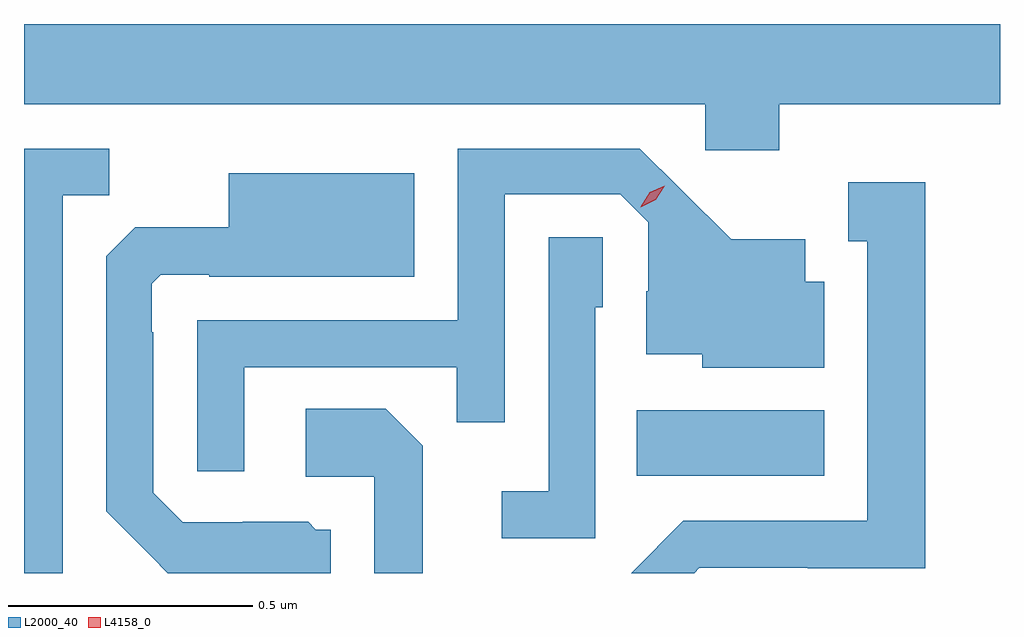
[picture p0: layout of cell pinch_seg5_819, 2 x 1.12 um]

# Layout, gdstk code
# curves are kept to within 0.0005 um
import gdstk
lib = gdstk.Library(unit=1e-6, precision=1e-09)
def R(c, l, rs):  # rectangles x0, y0, x1, y1
    for r in rs: c.add(gdstk.rectangle(r[:2], r[2:], *l))
def P(c, l, *ps):  # polygons
    for p in ps: c.add(gdstk.Polygon(p, *l))
L2000_40 = (2000, 40)
L4158_0 = (4158, 0)

pinch_seg5_819 = lib.new_cell('pinch_seg5_819')
R(pinch_seg5_819, L2000_40, [(766.738,905.282,767.122,905.416)])
P(pinch_seg5_819, L2000_40, [(767.03,906.044),(767.482,906.044),(767.482,906.208),(765.482,906.208),(765.482,906.044),(766.878,906.044),(766.878,905.949),(767.03,905.949)],
  [(765.561,905.857),(765.657,905.857),(765.657,905.952),(765.482,905.952),(765.482,905.083),(765.561,905.083)],
  [(765.933,905.505),(766.369,905.505),(766.369,905.392),(766.467,905.392),(766.467,905.859),(766.704,905.859),(766.761,905.802),(766.761,905.66),(766.757,905.66),(766.757,905.531),(766.872,905.531),(766.872,905.504),(767.122,905.504),(767.122,905.68),(767.083,905.68),(767.083,905.767),(766.931,905.767),(766.744,905.952),(766.371,905.952),(766.371,905.601),(765.837,905.601),(765.837,905.292),(765.933,905.292)],
  [(766.111,905.172),(766.08,905.172),(766.064,905.188),(765.93,905.188),(765.93,905.187),(765.807,905.187),(765.747,905.247),(765.747,905.576),(765.744,905.576),(765.744,905.676),(765.762,905.694),(765.862,905.694),(765.862,905.69),(766.282,905.69),(766.282,905.902),(765.902,905.902),(765.902,905.791),(765.71,905.791),(765.651,905.732),(765.651,905.21),(765.777,905.083),(766.111,905.083)],
  [(766.866,905.094),(767.088,905.094),(767.088,905.093),(767.329,905.093),(767.329,905.884),(767.171,905.884),(767.171,905.763),(767.21,905.763),(767.21,905.19),(766.833,905.19),(766.726,905.083),(766.855,905.083)],
  [(766.653,905.628),(766.668,905.628),(766.668,905.771),(766.557,905.771),(766.557,905.251),(766.461,905.251),(766.461,905.154),(766.653,905.154)],
  [(766.299,905.344),(766.223,905.42),(766.059,905.42),(766.059,905.28),(766.2,905.28),(766.2,905.083),(766.299,905.083)])
P(pinch_seg5_819, L4158_0, [(766.746,905.833),(766.746,905.834),(766.764,905.863),(766.795,905.877),(766.795,905.877),(766.795,905.877),(766.777,905.848),(766.746,905.833)])

lib.write_gds('pinch_seg5_819.gds')
